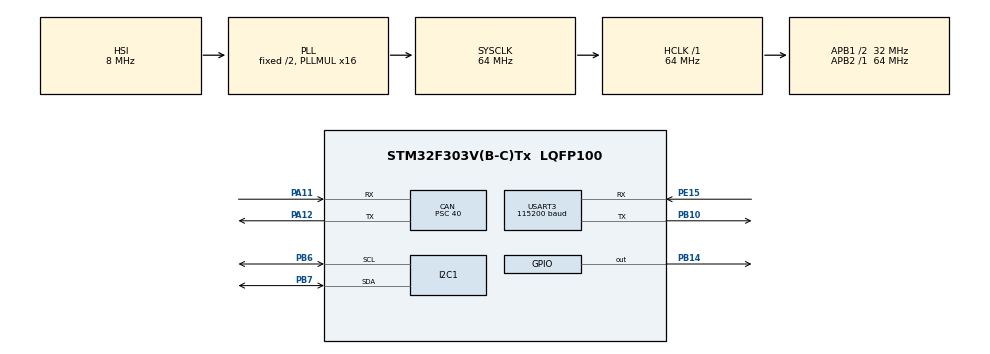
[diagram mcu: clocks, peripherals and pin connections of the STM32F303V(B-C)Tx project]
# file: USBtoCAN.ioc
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CAN.ABOM=ENABLE
CAN.AWUM=ENABLE
CAN.BS1=CAN_BS1_6TQ
CAN.CalculateTimeQuantum=1250.0
CAN.Mode=CAN_MODE_NORMAL
CAN.NART=ENABLE
CAN.Prescaler=40
CAN.TXFP=ENABLE
Mcu.Family=STM32F3
Mcu.Name=STM32F303V(B-C)Tx
Mcu.Package=LQFP100
NVIC.PriorityGroup=NVIC_PRIORITYGROUP_4
NVIC.TIM6_DAC_IRQn=true\:2\:0\:true\:false\:true\:true
NVIC.USART3_IRQn=true\:1\:0\:true\:false\:true\:true
NVIC.USB_HP_CAN_TX_IRQn=true\:3\:0\:true\:false\:true\:true
NVIC.USB_LP_CAN_RX0_IRQn=true\:3\:0\:true\:false\:true\:true
PA11.Mode=Master
PA11.Signal=CAN_RX
PA12.Mode=Master
PA12.Signal=CAN_TX
PB10.Mode=Asynchronous
PB10.Signal=USART3_TX
PB14.Signal=GPIO_Output
PB6.Mode=I2C
PB6.Signal=I2C1_SCL
PB7.Mode=I2C
PB7.Signal=I2C1_SDA
PE15.Mode=Asynchronous
PE15.Signal=USART3_RX
ProjectManager.HeapSize=0x200
ProjectManager.StackSize=0x400
ProjectManager.TargetToolchain=TrueSTUDIO
RCC.AHBFreq_Value=64000000
RCC.APB1CLKDivider=RCC_HCLK_DIV2
RCC.APB1Freq_Value=32000000
RCC.APB1TimFreq_Value=64000000
RCC.APB2Freq_Value=64000000
RCC.APB2TimFreq_Value=64000000
RCC.CortexFreq_Value=64000000
RCC.HCLKFreq_Value=64000000
RCC.HSE_VALUE=8000000
RCC.HSI_VALUE=8000000
RCC.LSE_VALUE=32768
RCC.PLLMUL=RCC_PLL_MUL16
RCC.SYSCLKFreq_VALUE=64000000
RCC.SYSCLKSourceVirtual=RCC_SYSCLKSOURCE_PLLCLK
RCC.TIM1Selection=RCC_TIM1CLK_PLLCLK
RCC.USBFreq_Value=64000000
RCC.Usart3ClockSelection=RCC_USART3CLKSOURCE_SYSCLK
TIM6.Period=100
TIM6.Prescaler=2
USART3.BaudRate=115200
USART3.VirtualMode-Asynchronous=VM_ASYNC
VP_TIM6_VS_ClockSourceINT.Mode=Enable_Timer
board=custom

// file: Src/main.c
/* USER CODE BEGIN Header */
/**
 ******************************************************************************
 * @file           : main.c
 * @brief          : Main program body
 ******************************************************************************
 ** This notice applies to any and all portions of this file
 * that are not between comment pairs USER CODE BEGIN and
 * USER CODE END. Other portions of this file, whether
 * inserted by the user or by software development tools
 * are owned by their respective copyright owners.
 *
 * COPYRIGHT(c) 2019 STMicroelectronics
 *
 * Redistribution and use in source and binary forms, with or without modification,
 * are permitted provided that the following conditions are met:
 *   1. Redistributions of source code must retain the above copyright notice,
 *      this list of conditions and the following disclaimer.
 *   2. Redistributions in binary form must reproduce the above copyright notice,
 *      this list of conditions and the following disclaimer in the documentation
 *      and/or other materials provided with the distribution.
 *   3. Neither the name of STMicroelectronics nor the names of its contributors
 *      may be used to endorse or promote products derived from this software
 *      without specific prior written permission.
 *
 * THIS SOFTWARE IS PROVIDED BY THE COPYRIGHT HOLDERS AND CONTRIBUTORS "AS IS"
 * AND ANY EXPRESS OR IMPLIED WARRANTIES, INCLUDING, BUT NOT LIMITED TO, THE
 * IMPLIED WARRANTIES OF MERCHANTABILITY AND FITNESS FOR A PARTICULAR PURPOSE ARE
 * DISCLAIMED. IN NO EVENT SHALL THE COPYRIGHT HOLDER OR CONTRIBUTORS BE LIABLE
 * FOR ANY DIRECT, INDIRECT, INCIDENTAL, SPECIAL, EXEMPLARY, OR CONSEQUENTIAL
 * DAMAGES (INCLUDING, BUT NOT LIMITED TO, PROCUREMENT OF SUBSTITUTE GOODS OR
 * SERVICES; LOSS OF USE, DATA, OR PROFITS; OR BUSINESS INTERRUPTION) HOWEVER
 * CAUSED AND ON ANY THEORY OF LIABILITY, WHETHER IN CONTRACT, STRICT LIABILITY,
 * OR TORT (INCLUDING NEGLIGENCE OR OTHERWISE) ARISING IN ANY WAY OUT OF THE USE
 * OF THIS SOFTWARE, EVEN IF ADVISED OF THE POSSIBILITY OF SUCH DAMAGE.
 *
 ******************************************************************************
 */
/* USER CODE END Header */

#include "main.h"
#include "can.h"
#include "i2c.h"
#include "tim.h"
#include "usart.h"
#include "gpio.h"

/* USER CODE BEGIN PV */
extern CAN_HandleTypeDef hcan;
extern CAN_TxHeaderTypeDef TxHeader;
extern CAN_RxHeaderTypeDef RxHeader;
extern uint8_t TxData[8];
extern uint8_t RxData[8];
extern uint32_t TxMailbox;
extern uint8_t test;
extern bool uartReceived;
extern uint8_t UartRecBuffer[BUFFER_SIZE];
extern uint8_t RecFIFO[FIFO_SIZE];
uint8_t testdata = 0xAA;
/* USER CODE END PV */

void SystemClock_Config(void);

int main(void)
{

  /* MCU Configuration--------------------------------------------------------*/

  /* Reset of all peripherals, Initializes the Flash interface and the Systick. */
  HAL_Init();

  /* Configure the system clock */
  SystemClock_Config();

  /* Initialize all configured peripherals */
  MX_GPIO_Init();
  MX_USART3_UART_Init();
  MX_CAN_Init();
  MX_I2C1_Init();
  MX_TIM6_Init();

  /* Infinite loop */
  /* USER CODE BEGIN WHILE */

	volatile uint8_t data2 = 0x32;
//	TxData[0] = 0xAA;
//	for (int i = 1; i < 8; i++) {
//		TxData[i] = TxData[i-1];
//	}
	TxData[0] = '1';
	TxData[1] = '2';
	TxData[2] = '3';
	TxData[3] = '4';
	TxData[4] = '5';
	TxData[5] = '6';
	TxData[6] = '7';
	TxData[7] = '8';
	//canSetup(0x09, DEFAULT_DATA_LENGTH);
	InitUSBtoCAN();
	uartReceived = 0;
	LCD_init();
	while (1) {
    /* USER CODE END WHILE */

    /* USER CODE BEGIN 3 */
		USBtoCAN_RUN();
		asm(" nop");
	}
  /* USER CODE END 3 */
}

void SystemClock_Config(void)
{
  RCC_OscInitTypeDef RCC_OscInitStruct = {0};
  RCC_ClkInitTypeDef RCC_ClkInitStruct = {0};
  RCC_PeriphCLKInitTypeDef PeriphClkInit = {0};

  /**Initializes the CPU, AHB and APB busses clocks
  */
  RCC_OscInitStruct.OscillatorType = RCC_OSCILLATORTYPE_HSI;
  RCC_OscInitStruct.HSIState = RCC_HSI_ON;
  RCC_OscInitStruct.HSICalibrationValue = RCC_HSICALIBRATION_DEFAULT;
  RCC_OscInitStruct.PLL.PLLState = RCC_PLL_ON;
  RCC_OscInitStruct.PLL.PLLSource = RCC_PLLSOURCE_HSI;
  RCC_OscInitStruct.PLL.PLLMUL = RCC_PLL_MUL16;
  if (HAL_RCC_OscConfig(&RCC_OscInitStruct) != HAL_OK)
  {
    Error_Handler();
  }
  /**Initializes the CPU, AHB and APB busses clocks
  */
  RCC_ClkInitStruct.ClockType = RCC_CLOCKTYPE_HCLK|RCC_CLOCKTYPE_SYSCLK
                              |RCC_CLOCKTYPE_PCLK1|RCC_CLOCKTYPE_PCLK2;
  RCC_ClkInitStruct.SYSCLKSource = RCC_SYSCLKSOURCE_PLLCLK;
  RCC_ClkInitStruct.AHBCLKDivider = RCC_SYSCLK_DIV1;
  RCC_ClkInitStruct.APB1CLKDivider = RCC_HCLK_DIV2;
  RCC_ClkInitStruct.APB2CLKDivider = RCC_HCLK_DIV1;

  if (HAL_RCC_ClockConfig(&RCC_ClkInitStruct, FLASH_LATENCY_2) != HAL_OK)
  {
    Error_Handler();
  }
  PeriphClkInit.PeriphClockSelection = RCC_PERIPHCLK_USART3|RCC_PERIPHCLK_I2C1;
  PeriphClkInit.Usart3ClockSelection = RCC_USART3CLKSOURCE_SYSCLK;
  PeriphClkInit.I2c1ClockSelection = RCC_I2C1CLKSOURCE_HSI;
  if (HAL_RCCEx_PeriphCLKConfig(&PeriphClkInit) != HAL_OK)
  {
    Error_Handler();
  }
}

void Error_Handler(void)
{
}

/************************ (C) COPYRIGHT STMicroelectronics *****END OF FILE****/
